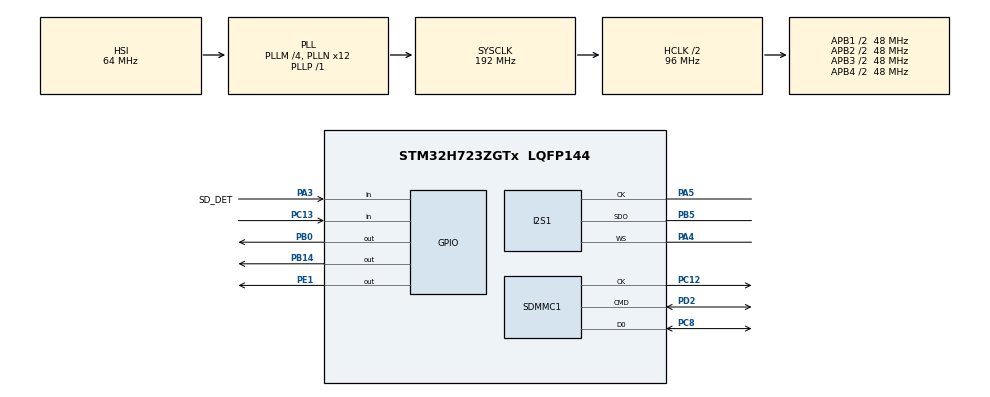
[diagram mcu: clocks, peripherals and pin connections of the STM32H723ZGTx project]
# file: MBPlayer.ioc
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CORTEX_M7.default_mode_Activation=1
Dma.Request0=SPI1_TX
Dma.SPI1_TX.0.Direction=DMA_MEMORY_TO_PERIPH
Dma.SPI1_TX.0.EventEnable=DISABLE
Dma.SPI1_TX.0.FIFOMode=DMA_FIFOMODE_DISABLE
Dma.SPI1_TX.0.Instance=DMA1_Stream0
Dma.SPI1_TX.0.MemDataAlignment=DMA_MDATAALIGN_HALFWORD
Dma.SPI1_TX.0.MemInc=DMA_MINC_ENABLE
Dma.SPI1_TX.0.Mode=DMA_CIRCULAR
Dma.SPI1_TX.0.PeriphDataAlignment=DMA_PDATAALIGN_HALFWORD
Dma.SPI1_TX.0.PeriphInc=DMA_PINC_DISABLE
Dma.SPI1_TX.0.Polarity=HAL_DMAMUX_REQ_GEN_RISING
Dma.SPI1_TX.0.Priority=DMA_PRIORITY_LOW
Dma.SPI1_TX.0.RequestNumber=1
Dma.SPI1_TX.0.SignalID=NONE
Dma.SPI1_TX.0.SyncEnable=DISABLE
Dma.SPI1_TX.0.SyncPolarity=HAL_DMAMUX_SYNC_NO_EVENT
Dma.SPI1_TX.0.SyncRequestNumber=1
Dma.SPI1_TX.0.SyncSignalID=NONE
FATFS.BSP.number=1
FATFS._FS_EXFAT=1
FATFS._USE_CHMOD=1
FATFS._USE_EXPAND=1
FATFS._USE_FORWARD=1
FATFS._USE_LABEL=1
FATFS._USE_LFN=1
FATFS0.BSP.STBoard=false
FATFS0.BSP.api=Unknown
FATFS0.BSP.instance=PA3
FATFS0.BSP.ip=GPIO
FATFS0.BSP.mode=Input
FATFS0.BSP.name=Detect_SDIO
FATFS0.BSP.solution=PA3
I2S1.AudioFreq=I2S_AUDIOFREQ_44K
I2S1.ErrorAudioFreq=0.26 %
I2S1.Instance=SPI$Index
I2S1.RealAudioFreq=44.117 KHz
Mcu.Family=STM32H7
Mcu.Name=STM32H723ZGTx
Mcu.Package=LQFP144
NUCLEO-H723ZG.BUTTON=1
NUCLEO-H723ZG.LD1=true
NUCLEO-H723ZG.LD2=true
NUCLEO-H723ZG.LD3=true
NUCLEO-H723ZG.VCP=true
NVIC.DMA1_Stream0_IRQn=true\:0\:0\:false\:false\:true\:false\:true\:true
NVIC.EXTI15_10_IRQn=true\:0\:0\:false\:false\:true\:false\:true\:true
NVIC.PriorityGroup=NVIC_PRIORITYGROUP_4
PA13(JTMS/SWDIO).GPIO_Label=SWDIO
PA13(JTMS/SWDIO).Signal=DEBUG_JTMS-SWDIO
PA14(JTCK/SWCLK).GPIO_Label=SWCLK
PA14(JTCK/SWCLK).Signal=DEBUG_JTCK-SWCLK
PA3.GPIO_Label=SD_DET
PA3.Signal=GPIO_Input
PA4.Mode=Half_Duplex_Master_Tx
PA4.Signal=I2S1_WS
PA5.Mode=Half_Duplex_Master_Tx
PA5.Signal=I2S1_CK
PB0.Signal=GPIO_Output
PB14.Signal=GPIO_Output
PB5.Mode=Half_Duplex_Master_Tx
PB5.Signal=I2S1_SDO
PC12.GPIO_Speed_High_Default=GPIO_SPEED_FREQ_LOW
PC12.Mode=SD_1_bit
PC12.Signal=SDMMC1_CK
PC13.Signal=GPIO_Input
PC14-OSC32_IN.Signal=RCC_OSC32_IN
PC15-OSC32_OUT.Signal=RCC_OSC32_OUT
PC8.GPIO_PuPd=GPIO_PULLUP
PC8.Mode=SD_1_bit
PC8.Signal=SDMMC1_D0
PD2.GPIO_PuPd=GPIO_PULLUP
PD2.Mode=SD_1_bit
PD2.Signal=SDMMC1_CMD
PD8.Signal=USART3_TX
PD9.Signal=USART3_RX
PE1.Signal=GPIO_Output
ProjectManager.HeapSize=0x200
ProjectManager.StackSize=0x400
ProjectManager.TargetToolchain=STM32CubeIDE
RCC.ADCFreq_Value=608000000
RCC.APB1Freq_Value=48000000
RCC.APB2Freq_Value=48000000
RCC.APB3Freq_Value=48000000
RCC.APB4Freq_Value=48000000
RCC.CortexFreq_Value=192000000
RCC.D1PPRE=RCC_APB3_DIV2
RCC.D2PPRE1=RCC_APB1_DIV2
RCC.D2PPRE2=RCC_APB2_DIV2
RCC.D3PPRE=RCC_APB4_DIV2
RCC.DIVM1=4
RCC.DIVM2=1
RCC.DIVN1=12
RCC.DIVN2=19
RCC.DIVP1=1
RCC.DIVQ1=4
RCC.HCLKFreq_Value=96000000
RCC.HPRE=RCC_HCLK_DIV2
RCC.HSE_VALUE=8000000
RCC.PLLFRACN=0
RCC.SYSCLKFreq_VALUE=192000000
RCC.SYSCLKSource=RCC_SYSCLKSOURCE_PLLCLK
RCC.USBCLockSelection=RCC_USBCLKSOURCE_HSI48
RCC.USBFreq_Value=48000000
SDMMC1.ClockDiv=20
VP_FATFS_VS_SDIO.Mode=SDIO
VP_MEMORYMAP_VS_MEMORYMAP.Mode=CurAppReg
VP_NUCLEO-H723ZG_VS_BSP_COMMON.Mode=COMMON
board=NUCLEO-H723ZG

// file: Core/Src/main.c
/* USER CODE BEGIN Header */
/**
 ******************************************************************************
 * @file           : main.c
 * @brief          : Main program body
 ******************************************************************************
 * @attention
 *
 * Copyright (c) 2026 STMicroelectronics.
 * All rights reserved.
 *
 * This software is licensed under terms that can be found in the LICENSE file
 * in the root directory of this software component.
 * If no LICENSE file comes with this software, it is provided AS-IS.
 *
 ******************************************************************************
 */
/* USER CODE END Header */
#include "main.h"
#include "dma.h"
#include "fatfs.h"
#include "i2s.h"
#include "sdmmc.h"
#include "gpio.h"

/* USER CODE BEGIN Includes */
#include "Common/Utils/Log.h"
#include "App/Metadata/fileSystem.h"
#include "Common/Allocators/arena_allocator.h"
#include "Common/Allocators/pool_allocator.h"

#include <stdio.h>
/* USER CODE END Includes */

/* USER CODE BEGIN PD */
#define AUDIO_BUFFER_SIZE 16384

uint16_t audio_buffer[AUDIO_BUFFER_SIZE];
volatile uint8_t buffer_state = 0; // 0 = idle, 1 = fill first half, 2 = fill second half
/* USER CODE END PD */

COM_InitTypeDef BspCOMInit;

/* USER CODE BEGIN PV */

extern UART_HandleTypeDef hcom_uart[];
/* USER CODE END PV */

void SystemClock_Config(void);
static void MPU_Config(void);
/* USER CODE BEGIN PFP */
void test_pool_allocator(void);
/* USER CODE END PFP */

/* USER CODE BEGIN 0 */

//int _write(int fd, char *ptr, int len) {
//	HAL_StatusTypeDef hstatus;
//
//	if (fd == 1 || fd == 2) {
//		hstatus = HAL_UART_Transmit(&hcom_uart[COM1], (uint8_t*) ptr, len,
//		HAL_MAX_DELAY);
//		if (hstatus == HAL_OK)
//			return len;
//		else
//			return -1;
//	}
//	return -1;
//}
uint8_t BSP_SD_IsDetected(void) {
	return sd_getDetectPinState();
}
/* USER CODE END 0 */

int main(void) {

	/* USER CODE BEGIN 1 */
	BSP_LED_Init(LED_GREEN);
	BSP_LED_Init(LED_YELLOW);
	BSP_LED_Init(LED_RED);
	setvbuf(stdout, NULL, _IONBF, 0);
//	HAL_I2S_Transmit_DMA(&hi2s2, (uint16_t*) audio_buffer, 4096);
	/* USER CODE END 1 */

	/* MPU Configuration--------------------------------------------------------*/
	MPU_Config();

	/* MCU Configuration--------------------------------------------------------*/

	/* Reset of all peripherals, Initializes the Flash interface and the Systick. */
	HAL_Init();

	/* Configure the system clock */
	SystemClock_Config();

	/* Initialize all configured peripherals */
	MX_GPIO_Init();
	MX_DMA_Init();
	MX_I2S1_Init();
	MX_SDMMC1_SD_Init();
	MX_FATFS_Init();

	/* Initialize leds */
	BSP_LED_Init(LED_GREEN);
	BSP_LED_Init(LED_YELLOW);
	BSP_LED_Init(LED_RED);

	/* Initialize USER push-button, will be used to trigger an interrupt each time it's pressed.*/
	BSP_PB_Init(BUTTON_USER, BUTTON_MODE_EXTI);

	/* Initialize COM1 port (115200, 8 bits (7-bit data + 1 stop bit), no parity */
	BspCOMInit.BaudRate = 115200;
	BspCOMInit.WordLength = COM_WORDLENGTH_8B;
	BspCOMInit.StopBits = COM_STOPBITS_1;
	BspCOMInit.Parity = COM_PARITY_NONE;
	BspCOMInit.HwFlowCtl = COM_HWCONTROL_NONE;
	if (BSP_COM_Init(COM1, &BspCOMInit) != BSP_ERROR_NONE) {
		Error_Handler();
	}

	/* Infinite loop */
	/* USER CODE BEGIN WHILE */
	log_init(1, LOG_DEBUG);
	printf("\r\n----------\r\nStarting\r\n");

	// FatFS card mounting
//	struct sd_init_struct  SD_init_struct = { SD_DET_Pin, SD_DET_GPIO_Port, &SDFatFS,
//			SDPath };
//	fs_init(&SD_init_struct);
//	printf("SD Card Information: \r\n");
//	printf("Block size : %ld\r\n", hsd1.SdCard.BlockSize);
//	printf("Block nmbr : %ld\r\n", hsd1.SdCard.BlockNbr);
//	printf("Card size : %ld\r\n",
//			(hsd1.SdCard.BlockSize * hsd1.SdCard.BlockNbr) / 1000);
//	printf("Card Version : %ld\r\n", hsd1.SdCard.CardVersion);
//
//	fs_list_files();

//	printf("Opening test.wav...\r\n");
//	FIL wavFile;
//	FRESULT res_wav = f_open(&wavFile, "test.wav", FA_READ);
//
//	if (res_wav == FR_OK) {
//		printf("File opened! Playing audio smoothly...\r\n");
//
//		f_lseek(&wavFile, 44); // Skip WAV header
//
//		UINT bytesRead;
//
//		// 1. Pre-fill the ENTIRE buffer before we start playing
//		f_read(&wavFile, audio_buffer, sizeof(audio_buffer), &bytesRead);
//
//		// 2. Start the DMA in Circular Mode!
//		// It will now play music in the background continuously without CPU help.
//		HAL_I2S_Transmit_DMA(&hi2s1, audio_buffer, AUDIO_BUFFER_SIZE);

	// 3. The Ping-Pong loop

	// TEST THE HASH MAP
//	uint8_t buffer[4096];
//
//	struct arena_allocator hm_arena;
//	arena_init(&hm_arena, buffer, sizeof(buffer));
//
//	size_t capacity = 32;
//	struct hash_map *hash_map = hm_init(capacity,
//			(struct allocator*) &hm_arena);
//
//	if (hash_map == NULL) {
//		printf("Map failed to initialize!\r\n");
//		return;
//	}
//
//	for (size_t i = 0; i < 10; i++) {
//		char key_buf[16];
//		snprintf(key_buf, sizeof(key_buf), "Track_%d", i);
//
//		const char *hm_key = hm_set(hash_map, key_buf, (void*) (uintptr_t) i);
//		printf("Set -> Key: %s\r\n", hm_key);
//	}
//
//	printf("Hash map variables set\r\n");
//
//	char key_buf[16];
//	snprintf(key_buf, sizeof(key_buf), "Track_%d", 5);
//	if (!hm_pop(hash_map, key_buf)) {
//		printf("Failed to pop the key 5\r\n");
//	}
//
//	for (size_t i = 0; i < 10; i++) {
//		char key_buf[16];
//		snprintf(key_buf, sizeof(key_buf), "Track_%d", i);
//
//		void *val = hm_get(hash_map, key_buf);
//
//		printf("Get -> Key: %s, val: %lu\r\n", key_buf,
//				(uint32_t) (uintptr_t) val);
//	}

	while (1) {
//		LOG(CORE, LOG_INFO, "Hello World!\r\n");
		BSP_LED_Toggle(LED_GREEN);
//		fs_process();
		HAL_Delay(1000);

//			if (buffer_state == 1) {
//				// DMA is playing the second half. CPU fills the FIRST half.
//				// (sizeof(audio_buffer) / 2 is 4096 bytes)
//				f_read(&wavFile, &audio_buffer[0], sizeof(audio_buffer) / 2,
//						&bytesRead);
//				buffer_state = 0; // Go back to sleep
//			}
//
//			if (buffer_state == 2) {
//				// DMA is playing the first half. CPU fills the SECOND half.
//				f_read(&wavFile, &audio_buffer[AUDIO_BUFFER_SIZE / 2],
//						sizeof(audio_buffer) / 2, &bytesRead);
//				buffer_state = 0; // Go back to sleep
//			}
//
//			// If we hit the end of the file, rewind seamlessly
//			if (bytesRead == 0) {
//				f_lseek(&wavFile, 44);
//				// Read instantly to prevent the next chunk from playing silence
//				f_read(&wavFile,
//						&audio_buffer[
//								buffer_state == 1 ? 0 : AUDIO_BUFFER_SIZE / 2],
//						sizeof(audio_buffer) / 2, &bytesRead);
//				buffer_state = 0;
//			}
	}
//	}
	/* USER CODE END WHILE */

}

void SystemClock_Config(void) {
	RCC_OscInitTypeDef RCC_OscInitStruct = { 0 };
	RCC_ClkInitTypeDef RCC_ClkInitStruct = { 0 };

	/** Supply configuration update enable
	 */
	HAL_PWREx_ConfigSupply(PWR_LDO_SUPPLY);

	/** Configure the main internal regulator output voltage
	 */
	__HAL_PWR_VOLTAGESCALING_CONFIG(PWR_REGULATOR_VOLTAGE_SCALE2);

	while (!__HAL_PWR_GET_FLAG(PWR_FLAG_VOSRDY)) {
	}

	/** Initializes the RCC Oscillators according to the specified parameters
	 * in the RCC_OscInitTypeDef structure.
	 */
	RCC_OscInitStruct.OscillatorType = RCC_OSCILLATORTYPE_HSI;
	RCC_OscInitStruct.HSIState = RCC_HSI_DIV1;
	RCC_OscInitStruct.HSICalibrationValue = 64;
	RCC_OscInitStruct.PLL.PLLState = RCC_PLL_ON;
	RCC_OscInitStruct.PLL.PLLSource = RCC_PLLSOURCE_HSI;
	RCC_OscInitStruct.PLL.PLLM = 4;
	RCC_OscInitStruct.PLL.PLLN = 12;
	RCC_OscInitStruct.PLL.PLLP = 1;
	RCC_OscInitStruct.PLL.PLLQ = 4;
	RCC_OscInitStruct.PLL.PLLR = 2;
	RCC_OscInitStruct.PLL.PLLRGE = RCC_PLL1VCIRANGE_3;
	RCC_OscInitStruct.PLL.PLLVCOSEL = RCC_PLL1VCOWIDE;
	RCC_OscInitStruct.PLL.PLLFRACN = 0;
	if (HAL_RCC_OscConfig(&RCC_OscInitStruct) != HAL_OK) {
		Error_Handler();
	}

	/** Initializes the CPU, AHB and APB buses clocks
	 */
	RCC_ClkInitStruct.ClockType = RCC_CLOCKTYPE_HCLK | RCC_CLOCKTYPE_SYSCLK
			| RCC_CLOCKTYPE_PCLK1 | RCC_CLOCKTYPE_PCLK2 | RCC_CLOCKTYPE_D3PCLK1
			| RCC_CLOCKTYPE_D1PCLK1;
	RCC_ClkInitStruct.SYSCLKSource = RCC_SYSCLKSOURCE_PLLCLK;
	RCC_ClkInitStruct.SYSCLKDivider = RCC_SYSCLK_DIV1;
	RCC_ClkInitStruct.AHBCLKDivider = RCC_HCLK_DIV2;
	RCC_ClkInitStruct.APB3CLKDivider = RCC_APB3_DIV2;
	RCC_ClkInitStruct.APB1CLKDivider = RCC_APB1_DIV2;
	RCC_ClkInitStruct.APB2CLKDivider = RCC_APB2_DIV2;
	RCC_ClkInitStruct.APB4CLKDivider = RCC_APB4_DIV2;

	if (HAL_RCC_ClockConfig(&RCC_ClkInitStruct, FLASH_LATENCY_1) != HAL_OK) {
		Error_Handler();
	}
}

/* USER CODE BEGIN 4 */

void test_pool_allocator(void) {
	LOG(TEST, LOG_INFO, "--- Starting Pool Allocator Test ---\r\n");

	uint8_t memory_buffer[64];
	struct pool_allocator pool;

	int blocks = pool_init(&pool, memory_buffer, sizeof(memory_buffer), 13);

	LOG(TEST, LOG_INFO,
			"Init: %d blocks created. Aligned block size: %zu bytes.\r\n",
			blocks, pool.block_size);
	LOG(TEST, LOG_INFO, "Total free blocks: %zu\r\n", pool.free_count);

	void *ptr1 = pool_alloc(&pool.base, 13);
	void *ptr2 = pool_alloc(&pool.base, 13);
	void *ptr3 = pool_alloc(&pool.base, 13);

	ptrdiff_t diff_1_2 = (uint8_t*) ptr2 - (uint8_t*) ptr1;
	ptrdiff_t diff_2_3 = (uint8_t*) ptr3 - (uint8_t*) ptr2;

	LOG(TEST, LOG_INFO, "Ptr1: %p\r\n", ptr1);
	LOG(TEST, LOG_INFO, "Ptr2: %p (Diff: %td bytes)\r\n", ptr2, diff_1_2);
	LOG(TEST, LOG_INFO, "Ptr3: %p (Diff: %td bytes)\r\n", ptr3, diff_2_3);

	LOG(TEST, LOG_INFO, "Freeing Ptr2...\r\n");
	pool_free(&pool.base, ptr2);
	LOG(TEST, LOG_INFO, "Free count after free: %zu\r\n", pool.free_count);

	void *ptr4 = pool_alloc(&pool.base, 13);
	LOG(TEST, LOG_INFO, "Ptr4 allocated at: %p\r\n", ptr4);

	if (ptr4 == ptr2) {
		LOG(TEST, LOG_INFO, "[SUCCESS] LIFO Stack logic works perfectly!\r\n");
	} else {
		LOG(TEST, LOG_ERROR, "[FAIL] LIFO Stack logic is broken!\r\n");
	}

	LOG(TEST, LOG_INFO, "--- End of Test ---\r\n");
}

void HAL_I2S_TxHalfCpltCallback(I2S_HandleTypeDef *hi2s) {
	buffer_state = 1;
}

// DMA tells us the SECOND half of the buffer just finished playing
void HAL_I2S_TxCpltCallback(I2S_HandleTypeDef *hi2s) {
	buffer_state = 2;
}
/* USER CODE END 4 */

/* MPU Configuration */

void MPU_Config(void) {
	MPU_Region_InitTypeDef MPU_InitStruct = { 0 };

	/* Disables the MPU */
	HAL_MPU_Disable();

	/** Initializes and configures the Region and the memory to be protected
	 */
	MPU_InitStruct.Enable = MPU_REGION_ENABLE;
	MPU_InitStruct.Number = MPU_REGION_NUMBER0;
	MPU_InitStruct.BaseAddress = 0x0;
	MPU_InitStruct.Size = MPU_REGION_SIZE_4GB;
	MPU_InitStruct.SubRegionDisable = 0x87;
	MPU_InitStruct.TypeExtField = MPU_TEX_LEVEL0;
	MPU_InitStruct.AccessPermission = MPU_REGION_NO_ACCESS;
	MPU_InitStruct.DisableExec = MPU_INSTRUCTION_ACCESS_DISABLE;
	MPU_InitStruct.IsShareable = MPU_ACCESS_SHAREABLE;
	MPU_InitStruct.IsCacheable = MPU_ACCESS_NOT_CACHEABLE;
	MPU_InitStruct.IsBufferable = MPU_ACCESS_NOT_BUFFERABLE;

	HAL_MPU_ConfigRegion(&MPU_InitStruct);
	/* Enables the MPU */
	HAL_MPU_Enable(MPU_PRIVILEGED_DEFAULT);

}

void Error_Handler(void) {
	/* USER CODE BEGIN Error_Handler_Debug */

	/* User can add his own implementation to report the HAL error return state */
	__disable_irq();
	while (1) {
		BSP_LED_Toggle(LED_RED);
		BSP_LED_Toggle(LED_YELLOW);
		BSP_LED_Toggle(LED_GREEN);
		for (uint32_t i = 0; i < 5000000; i++)
			;
	}
	/* USER CODE END Error_Handler_Debug */
}
